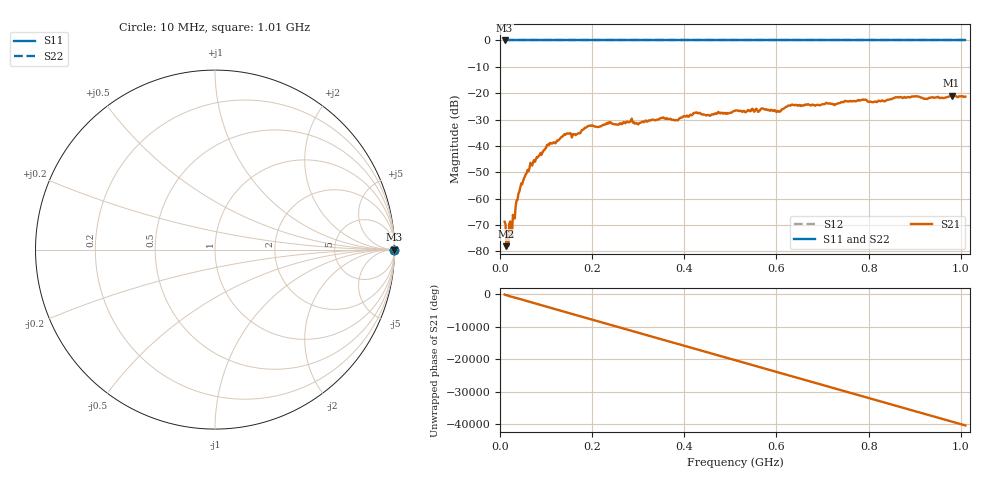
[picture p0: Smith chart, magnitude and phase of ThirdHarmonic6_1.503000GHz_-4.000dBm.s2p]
! 8/16/2025 5:39:43 PM
! C:\ANRITSUVNA\TEMP\TEMP.S2P
! CHANNEL.1
! TR.MEASUREMENT
! RAW.DATA
! RF.CORRECTION.OFF
! AVERAGING.OFF
! IF.BANDWIDTH: 5KHZ
! SWEEPTYPE:  FREQ.SWEEP(Linear)
! Reference Plane Port Info
! PORT:  PORT1  PORT2
! DISTANCE:  0  m  0  m
! TIME:  0  s  0  s
! PHASE.OFFSET:  0  deg.  0  deg.
! LOSS:  0  dB  0  dB
! REF.LOSS:  0  dB  0  dB
! REF.FREQ:  0  Hz  0  Hz
! Power Info
! POWER:  -20  dBm  -20  dBm
! EFF.POWER:  -20  dBm  -20  dBm
! SOURCE.ATTEN:  0  dB  0  dB
! TEST.ATTEN:  0  dB  0  dB
# GHZ S RI R 50.0
! FREQ.GHZ  S11RE  S11IM  S21RE  S21IM  S12RE  S12IM  S22RE  S22IM
!; PortSelection: Port_12
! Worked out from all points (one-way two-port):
!   501 points, 10 MHz to 1.01 GHz, reference 50 ohm
!   highest |S21| = -20.98 dB at 980 MHz (marker M1); lowest = -78.0 dB at 14 MHz (marker M2)
!   lowest |S11| = 0.0 dB at 10 MHz (marker M3)
!   |S11| at or under -10 dB: nowhere
!   |S22| runs from 0.0 to 0.0 dB; largest |S21 - S12| = 1.1
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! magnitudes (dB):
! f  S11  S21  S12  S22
! 10 MHz  0.0  -68.7  0.0  0.0
! 14 MHz  0.0  -78.0  0.0  0.0
! 18 MHz  0.0  -77.9  0.0  0.0
! 28 MHz  0.0  -66.1  0.0  0.0
! 38 MHz  0.0  -60.4  0.0  0.0
! 48 MHz  0.0  -54.6  0.0  0.0
! 70 MHz  0.0  -47.4  0.0  0.0
! 106 MHz  0.0  -39.7  0.0  0.0
! 142 MHz  0.0  -35.8  0.0  0.0
! 178 MHz  0.0  -34.0  0.0  0.0
! 236 MHz  0.0  -31.0  0.0  0.0
! 344 MHz  0.0  -30.0  0.0  0.0
! 382 MHz  0.0  -30.2  0.0  0.0
! 424 MHz  0.0  -27.4  0.0  0.0
! 452 MHz  0.0  -28.3  0.0  0.0
! 510 MHz  0.0  -26.7  0.0  0.0
! 604 MHz  0.0  -26.8  0.0  0.0
! 630 MHz  0.0  -24.7  0.0  0.0
! 678 MHz  0.0  -24.3  0.0  0.0
! 844 MHz  0.0  -22.5  0.0  0.0
! 980 MHz  0.0  -21.0  0.0  0.0
! 1.01 GHz  0.0  -21.3  0.0  0.0
